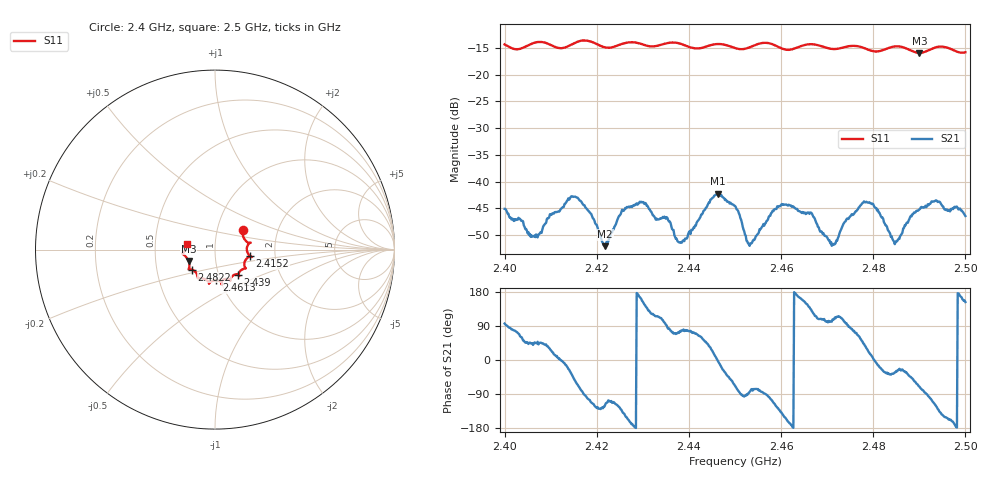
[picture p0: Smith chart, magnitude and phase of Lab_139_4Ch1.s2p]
# Hz S RI R 50
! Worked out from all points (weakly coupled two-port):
!   601 points, 2.4 GHz to 2.5 GHz, reference 50 ohm
!   highest |S21| = -42.28 dB at 2.4463 GHz (marker M1); lowest = -52.1 dB at 2.4218 GHz (marker M2)
!   lowest |S11| = -15.9 dB at 2.49 GHz (marker M3), VSWR 1.38, Z = 36.9 - j4.82 ohm
!   |S11| at or under -10 dB: start of sweep to end of sweep
!   S12 and S22 are empty: the file has one direction only
!   S11 on the Smith chart (normalised r, x): 2.4 GHz: 1.33, +0.31; 2.4152 GHz: 1.48, -0.11; 2.439 GHz: 1.24, -0.36; 2.4613 GHz: 0.96, -0.34; 2.4822 GHz: 0.76, -0.17; 2.5 GHz: 0.73, +0.05
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2.4e9  0.1567 0.1112  -0.000596 0.00552  0 0  0 0
2.406667e9  0.1967 0.0372  0.00213 0.00214  0 0  0 0
2.415167e9  0.1944 -0.0364  0.00444 -0.00569  0 0  0 0
2.416667e9  0.204 -0.0421  0.00103 -0.00639  0 0  0 0
2.421833e9  0.1708 -0.057  -0.00116 -0.0022  0 0  0 0
2.4265e9  0.1708 -0.1029  -0.00506 -0.00279  0 0  0 0
2.430167e9  0.1572 -0.1084  -0.00554 0.00321  0 0  0 0
2.433333e9  0.1329 -0.1322  -0.00181 0.00404  0 0  0 0
2.439e9  0.1283 -0.1389  0.000653 0.0027  0 0  0 0
2.446333e9  0.0855 -0.1738  0.00767 -0.000546  0 0  0 0
2.45e9  0.0689 -0.1639  0.00221 -0.00549  0 0  0 0
2.453167e9  0.0376 -0.1765  0.00026 -0.00249  0 0  0 0
2.461333e9  0.00753 -0.1708  -0.00564 -0.00209  0 0  0 0
2.466667e9  -0.0333 -0.1902  -0.0032 0.00389  0 0  0 0
2.471167e9  -0.0556 -0.1649  -0.000776 0.0025  0 0  0 0
2.478e9  -0.097 -0.149  0.00482 0.00441  0 0  0 0
2.482167e9  -0.128 -0.112  0.0039 -0.00219  0 0  0 0
2.483333e9  -0.1393 -0.1105  0.00281 -0.002  0 0  0 0
2.485167e9  -0.1476 -0.1107  0.0024 -0.00138  0 0  0 0
2.49e9  -0.147 -0.0636  0.00188 -0.00516  0 0  0 0
2.493833e9  -0.1802 -0.0243  -0.00379 -0.00539  0 0  0 0
2.5e9  -0.1584 0.0335  -0.00424 0.00218  0 0  0 0
